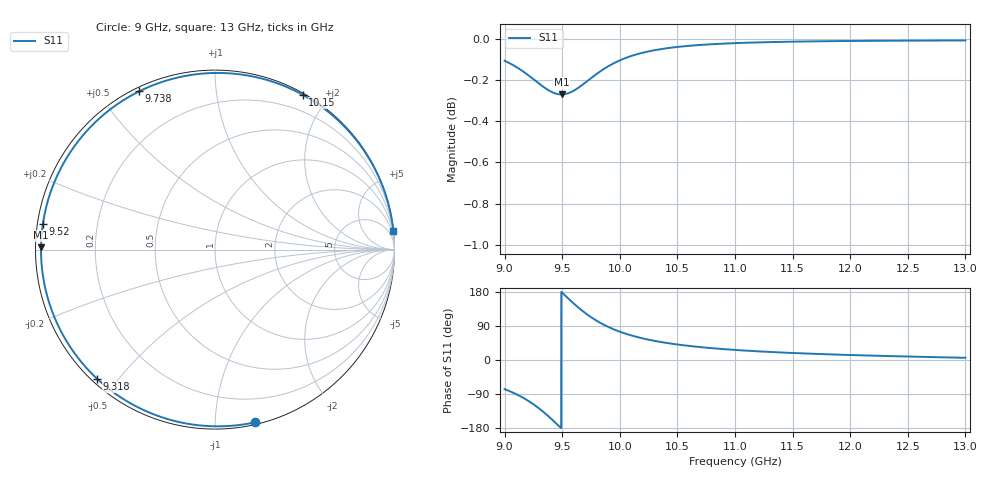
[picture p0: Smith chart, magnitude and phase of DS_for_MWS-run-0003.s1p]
! TOUCHSTONE file generated by CST DESIGN STUDIO
! Date and time: Tue Feb  4 13:40:02 2025
! Project name: C:\Work\MatlabApps\UnitCellOptimizationMatlab\CST\unitcell.cst
! Tree item: Tasks\Sweep1\SPara1\S-Parameters
! Header version: 2024
! Port assignment regex: !\s*Touchstone port\s*([0-9]+)\s*=\s*(CST MWS port|CST DES external port|CST DES block port)\s*(.+)\s* \(\"(.*)\"\)(\s*mode\s*([0-9]+))?.*
! Touchstone port assignment:
! Touchstone port 1 = CST DES external port 1 ("")
# GHz S MA R 50
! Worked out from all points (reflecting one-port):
!   4001 points, 9 GHz to 13 GHz, reference 50 ohm
!   lowest |S11| = -0.3 dB at 9.494 GHz (marker M1), VSWR 64.50, Z = 0.775 + j0.358 ohm
!   phase of S11 starts at -77 deg and turns -277 deg over the sweep
!   S11 on the Smith chart (normalised r, x): 9 GHz: 0.02, -1.26; 9.318 GHz: 0.02, -0.44; 9.52 GHz: 0.02, +0.07; 9.738 GHz: 0.02, +0.63; 10.15 GHz: 0.02, +1.72; 13 GHz: 0, +20
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9  0.9879 -76.9
9.082  0.9852 -87.4
9.182  0.981 -103.4
9.253  0.9776 -117.5
9.318  0.9744 -132.4
9.365  0.9723 -144.4
9.414  0.9706 -157.8
9.455  0.9697 -169.5
9.494  0.9695 179.2
9.5  0.9695 177.4
9.52  0.9696 171.6
9.574  0.9706 156.2
9.634  0.9728 140.0
9.685  0.9751 127.4
9.738  0.9777 115.6
9.791  0.9803 105.1
9.85  0.9829 94.9
9.924  0.9857 84.0
10  0.9881 74.7
10.153  0.9916 60.4
10.31  0.9938 50.0
10.5  0.9956 40.9
10.722  0.9968 33.3
11  0.9977 26.6
11.5  0.9985 18.5
12  0.9989 13.2
12.5  0.9991 9.1
13  0.9992 5.8
